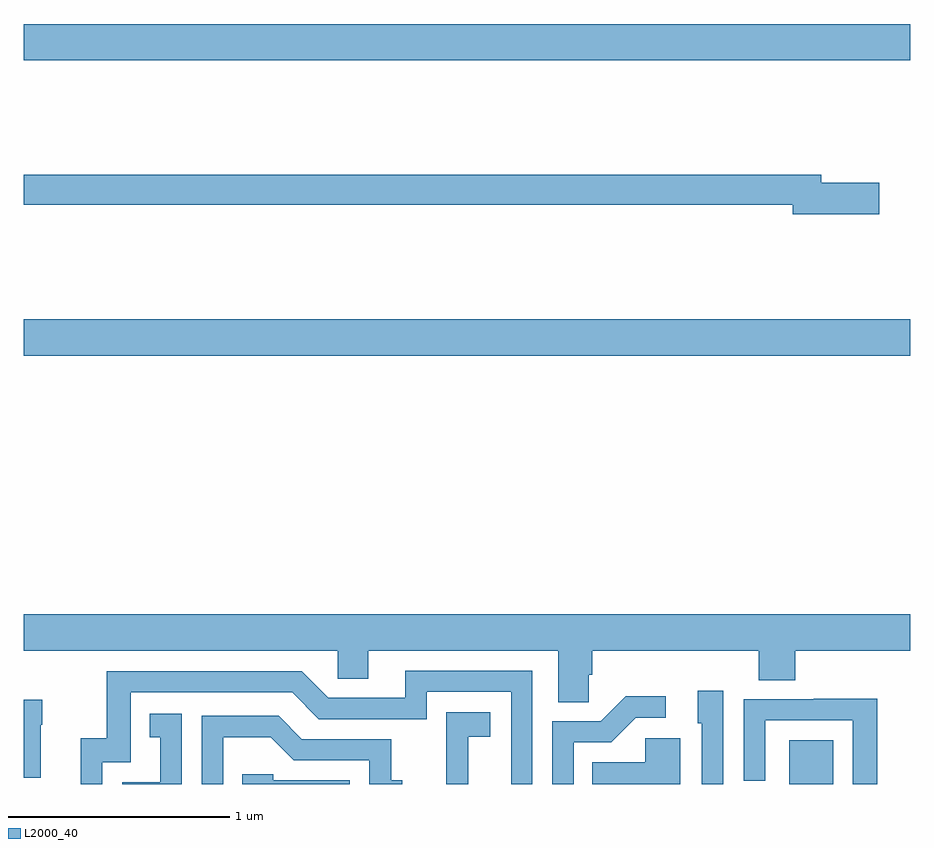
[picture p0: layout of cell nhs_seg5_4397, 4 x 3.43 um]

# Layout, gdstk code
import gdstk
lib = gdstk.Library(unit=1e-6, precision=1e-09)
def R(c, l, rs):  # rectangles x0, y0, x1, y1
    for r in rs: c.add(gdstk.rectangle(r[:2], r[2:], *l))
def P(c, l, *ps):  # polygons
    for p in ps: c.add(gdstk.Polygon(p, *l))
L2000_40 = (2000, 40)

nhs_seg5_4397 = lib.new_cell('nhs_seg5_4397')
R(nhs_seg5_4397, L2000_40, [(372.455,882.799,372.652,882.997), (369,884.732,373,884.896), (369,886.064,373,886.228)])
P(nhs_seg5_4397, L2000_40, [(372.859,885.512),(372.598,885.512),(372.598,885.548),(369,885.548),(369,885.412),(372.47,885.412),(372.47,885.37),(372.859,885.37)],
  [(371.55,883.291),(371.564,883.291),(371.564,883.4),(372.317,883.4),(372.317,883.267),(372.482,883.267),(372.482,883.4),(373,883.4),(373,883.564),(369,883.564),(369,883.4),(370.416,883.4),(370.416,883.273),(370.555,883.273),(370.555,883.4),(371.411,883.4),(371.411,883.168),(371.55,883.168)],
  [(369.354,882.897),(369.483,882.897),(369.483,883.212),(370.212,883.212),(370.332,883.092),(370.818,883.092),(370.818,883.215),(371.199,883.215),(371.199,882.799),(371.295,882.799),(371.295,883.311),(370.721,883.311),(370.721,883.188),(370.374,883.188),(370.254,883.308),(369.375,883.308),(369.375,883.006),(369.257,883.006),(369.257,882.799),(369.354,882.799)],
  [(372.156,883.219),(372.041,883.219),(372.041,883.074),(372.06,883.074),(372.06,882.799),(372.156,882.799)],
  [(371.481,882.987),(371.65,882.987),(371.761,883.098),(371.896,883.098),(371.896,883.196),(371.717,883.196),(371.604,883.083),(371.385,883.083),(371.385,882.799),(371.481,882.799)],
  [(372.85,883.184),(372.565,883.184),(372.565,883.182),(372.249,883.182),(372.249,882.813),(372.345,882.813),(372.345,883.086),(372.741,883.086),(372.741,882.799),(372.85,882.799)],
  [(369.076,883.067),(369.084,883.067),(369.084,883.18),(369,883.18),(369,882.827),(369.076,882.827)],
  [(371.006,883.013),(371.104,883.013),(371.104,883.123),(370.906,883.123),(370.906,882.917),(370.907,882.917),(370.907,882.799),(371.006,882.799)],
  [(369.714,883.117),(369.568,883.117),(369.568,883.011),(369.617,883.011),(369.617,882.807),(369.444,882.807),(369.444,882.799),(369.714,882.799)],
  [(369.9,883.01),(370.114,883.01),(370.218,882.906),(370.56,882.906),(370.56,882.799),(370.708,882.799),(370.708,882.817),(370.659,882.817),(370.659,883.002),(370.255,883.002),(370.15,883.107),(369.804,883.107),(369.804,882.799),(369.9,882.799)],
  [(371.962,883.006),(371.805,883.006),(371.805,882.898),(371.566,882.898),(371.566,882.799),(371.962,882.799)],
  [(370.47,882.816),(370.125,882.816),(370.125,882.843),(369.985,882.843),(369.985,882.799),(370.47,882.799)])

lib.write_gds('nhs_seg5_4397.gds')
